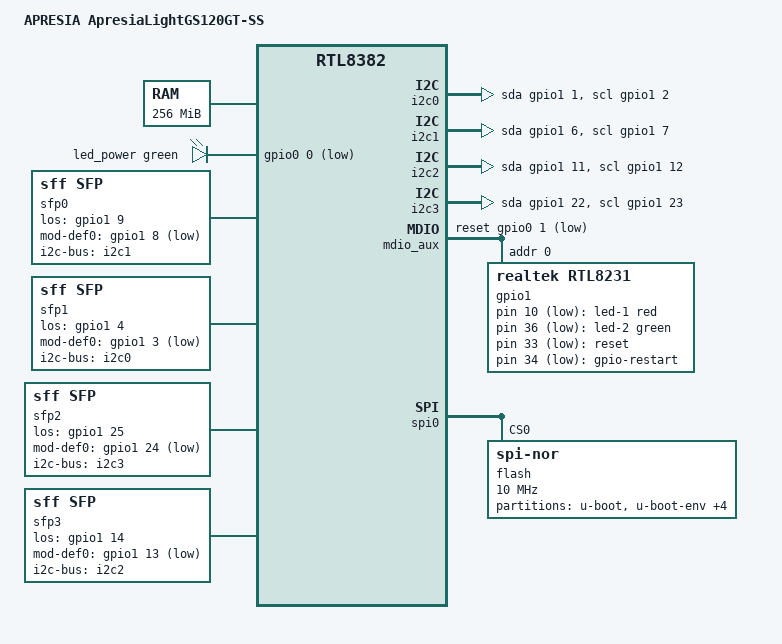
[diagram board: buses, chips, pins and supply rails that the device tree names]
// SPDX-License-Identifier: GPL-2.0-or-later OR MIT

#include "rtl838x.dtsi"

#include <dt-bindings/input/input.h>
#include <dt-bindings/gpio/gpio.h>
#include <dt-bindings/leds/common.h>

/ {
	compatible = "apresia,aplgs120gtss", "realtek,rtl8382-soc";
	model = "APRESIA ApresiaLightGS120GT-SS";

	aliases {
		led-boot = &led_power;
		led-failsafe = &led_power;
		led-running = &led_power;
		led-upgrade = &led_power;
	};

	memory@0 {
		device_type = "memory";
		reg = <0x0 0x10000000>;
	};

	leds {
		compatible = "gpio-leds";

		led_power: led-0 {
			gpios = <&gpio0 0 GPIO_ACTIVE_LOW>;
			color = <LED_COLOR_ID_GREEN>;
			function = LED_FUNCTION_POWER;
		};

		led-1 {
			gpios = <&gpio1 10 GPIO_ACTIVE_LOW>;
			color = <LED_COLOR_ID_RED>;
			function = LED_FUNCTION_FAULT;
		};

		/* LED chip is soldered, but no hole on the case */
		led-2 {
			gpios = <&gpio1 36 GPIO_ACTIVE_LOW>;
			color = <LED_COLOR_ID_GREEN>;
		};
	};

	keys {
		compatible = "gpio-keys-polled";
		poll-interval = <20>;

		reset {
			label = "reset";
			gpios = <&gpio1 33 GPIO_ACTIVE_LOW>;
			linux,code = <KEY_RESTART>;
		};
	};

	gpio-restart {
		compatible = "gpio-restart";
		gpios = <&gpio1 34 GPIO_ACTIVE_LOW>;
		open-source;
	};

	i2c0: i2c-gpio-0 {
		compatible = "i2c-gpio";
		sda-gpios = <&gpio1 1 (GPIO_ACTIVE_HIGH | GPIO_OPEN_DRAIN)>;
		scl-gpios = <&gpio1 2 (GPIO_ACTIVE_HIGH | GPIO_OPEN_DRAIN)>;
		i2c-gpio,delay-us = <2>;
		#address-cells = <1>;
		#size-cells = <0>;
	};

	i2c1: i2c-gpio-1 {
		compatible = "i2c-gpio";
		sda-gpios = <&gpio1 6 (GPIO_ACTIVE_HIGH | GPIO_OPEN_DRAIN)>;
		scl-gpios = <&gpio1 7 (GPIO_ACTIVE_HIGH | GPIO_OPEN_DRAIN)>;
		i2c-gpio,delay-us = <2>;
		#address-cells = <1>;
		#size-cells = <0>;
	};

	i2c2: i2c-gpio-2 {
		compatible = "i2c-gpio";
		sda-gpios = <&gpio1 11 (GPIO_ACTIVE_HIGH | GPIO_OPEN_DRAIN)>;
		scl-gpios = <&gpio1 12 (GPIO_ACTIVE_HIGH | GPIO_OPEN_DRAIN)>;
		i2c-gpio,delay-us = <2>;
		#address-cells = <1>;
		#size-cells = <0>;
	};

	i2c3: i2c-gpio-3 {
		compatible = "i2c-gpio";
		sda-gpios = <&gpio1 22 (GPIO_ACTIVE_HIGH | GPIO_OPEN_DRAIN)>;
		scl-gpios = <&gpio1 23 (GPIO_ACTIVE_HIGH | GPIO_OPEN_DRAIN)>;
		i2c-gpio,delay-us = <2>;
		#address-cells = <1>;
		#size-cells = <0>;
	};

	/* 4x TX-Disable lines are provided by RTL8214FC */
	sfp0: sfp-p17 {
		compatible = "sff,sfp";
		i2c-bus = <&i2c1>;
		los-gpio = <&gpio1 9 GPIO_ACTIVE_HIGH>;
		mod-def0-gpio = <&gpio1 8 GPIO_ACTIVE_LOW>;
	};

	sfp1: sfp-p18 {
		compatible = "sff,sfp";
		i2c-bus = <&i2c0>;
		los-gpio = <&gpio1 4 GPIO_ACTIVE_HIGH>;
		mod-def0-gpio = <&gpio1 3 GPIO_ACTIVE_LOW>;
	};

	sfp2: sfp-p19 {
		compatible = "sff,sfp";
		i2c-bus = <&i2c3>;
		los-gpio = <&gpio1 25 GPIO_ACTIVE_HIGH>;
		mod-def0-gpio = <&gpio1 24 GPIO_ACTIVE_LOW>;
	};

	sfp3: sfp-p20 {
		compatible = "sff,sfp";
		i2c-bus = <&i2c2>;
		los-gpio = <&gpio1 14 GPIO_ACTIVE_HIGH>;
		mod-def0-gpio = <&gpio1 13 GPIO_ACTIVE_LOW>;
	};
};

&mdio_aux {
	status = "okay";

	reset-gpios = <&gpio0 1 GPIO_ACTIVE_LOW>;
	reset-delay-us = <1000>;
	reset-post-delay-us = <10000>;

	gpio1: expander@0 {
		compatible = "realtek,rtl8231";
		reg = <0>;

		gpio-controller;
		#gpio-cells = <2>;
		gpio-ranges = <&gpio1 0 0 37>;

		led-controller {
			compatible = "realtek,rtl8231-leds";
			status = "disabled";
		};
	};
};

&spi0 {
	status = "okay";

	flash@0 {
		compatible = "jedec,spi-nor";
		reg = <0>;
		spi-max-frequency = <10000000>;

		partitions {
			compatible = "fixed-partitions";
			#address-cells = <1>;
			#size-cells = <1>;

			partition@0 {
				label = "u-boot";
				reg = <0x0 0x80000>;
				read-only;
			};

			partition@80000 {
				label = "u-boot-env";
				reg = <0x80000 0x40000>;
			};

			partition@c0000 {
				label = "u-boot-env2";
				reg = <0xc0000 0x40000>;
			};

			partition@100000 {
				compatible = "openwrt,uimage", "denx,uimage";
				label = "firmware";
				reg = <0x100000 0xe80000>;
				openwrt,ih-magic = <0x12345000>;
			};

			partition@f80000 {
				label = "firmware2";
				reg = <0xf80000 0xe80000>;
			};

			partition@1e00000 {
				label = "jffs2";
				reg = <0x1e00000 0x200000>;
				read-only;
			};
		};
	};
};

&mdio_bus0 {
	PHY_C22(0, 0)
	PHY_C22(1, 1)
	PHY_C22(2, 2)
	PHY_C22(3, 3)
	PHY_C22(4, 4)
	PHY_C22(5, 5)
	PHY_C22(6, 6)
	PHY_C22(7, 7)

	PHY_C22(8, 8)
	PHY_C22(9, 9)
	PHY_C22(10, 10)
	PHY_C22(11, 11)
	PHY_C22(12, 12)
	PHY_C22(13, 13)
	PHY_C22(14, 14)
	PHY_C22(15, 15)

	PHY_C22_SFP(24, 24, 0)
	PHY_C22_SFP(25, 25, 1)
	PHY_C22_SFP(26, 26, 2)
	PHY_C22_SFP(27, 27, 3)
};

&switch0 {
	ethernet-ports {
		#address-cells = <1>;
		#size-cells = <0>;

		SWITCH_PORT_SDS(0, 1, 0, 0, qsgmii)
		SWITCH_PORT_SDS(1, 2, 0, 1, qsgmii)
		SWITCH_PORT_SDS(2, 3, 0, 2, qsgmii)
		SWITCH_PORT_SDS(3, 4, 0, 3, qsgmii)
		SWITCH_PORT_SDS(4, 5, 1, 0, qsgmii)
		SWITCH_PORT_SDS(5, 6, 1, 1, qsgmii)
		SWITCH_PORT_SDS(6, 7, 1, 2, qsgmii)
		SWITCH_PORT_SDS(7, 8, 1, 3, qsgmii)

		SWITCH_PORT(8, 9, internal)
		SWITCH_PORT(9, 10, internal)
		SWITCH_PORT(10, 11, internal)
		SWITCH_PORT(11, 12, internal)
		SWITCH_PORT(12, 13, internal)
		SWITCH_PORT(13, 14, internal)
		SWITCH_PORT(14, 15, internal)
		SWITCH_PORT(15, 16, internal)

		SWITCH_PORT_SDS(24, 17, 4, 0, qsgmii)
		SWITCH_PORT_SDS(25, 18, 4, 1, qsgmii)
		SWITCH_PORT_SDS(26, 19, 4, 2, qsgmii)
		SWITCH_PORT_SDS(27, 20, 4, 3, qsgmii)

		port@28 {
			ethernet = <&ethernet0>;
			reg = <28>;
			phy-mode = "internal";

			fixed-link {
				speed = <1000>;
				full-duplex;
			};
		};
	};
};
